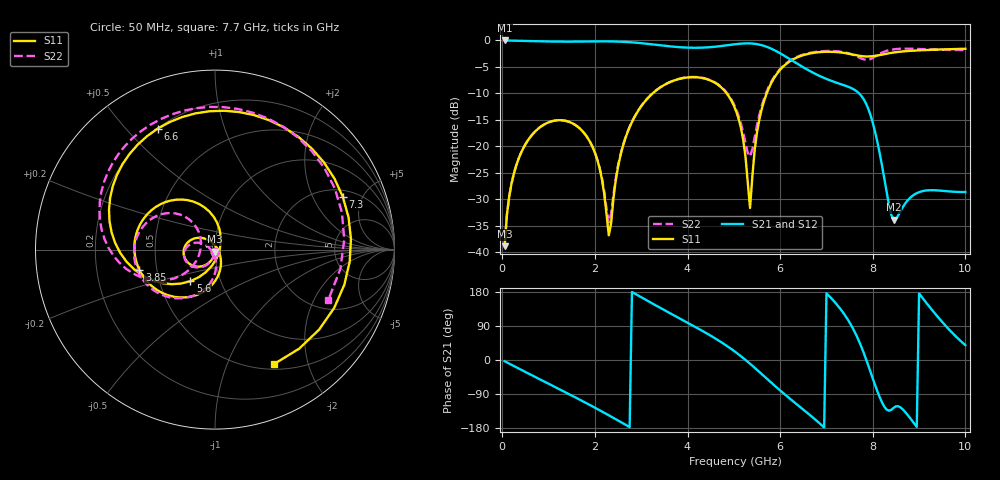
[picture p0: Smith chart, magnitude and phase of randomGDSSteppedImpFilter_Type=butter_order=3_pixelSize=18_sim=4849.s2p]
! freq	dB(S11)	phase(S11)	dB(S12)	phase(S12)
!  dB(S21)	phase(S21)	dB(S22)	phase(S22)
!S-par simulation data
#  GHz  S  DB  R 50
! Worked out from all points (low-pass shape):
!   200 points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, 50 MHz to 10 GHz, reference 50 ohm
!   highest |S21| = -0.01 dB at 50 MHz (marker M1); lowest = -33.9 dB at 8.45 GHz (marker M2)
!   |S21| within 3 dB of the highest: start of sweep to 6.111 GHz
!   lowest |S11| = -38.9 dB at 50 MHz (marker M3), VSWR 1.02, Z = 49.9 - j1.14 ohm
!   |S11| at or under -10 dB: start of sweep to 3.248 GHz; 4.846 GHz to 5.71 GHz (864.2 MHz wide, 16.4 % of centre)
!   |S22| runs from -38.9 to -1.6 dB; largest |S21 - S12| = 0
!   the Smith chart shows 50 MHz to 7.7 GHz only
!   S11 on the Smith chart (normalised r, x): 50 MHz: 1.00, -0.02; 3.85 GHz: 0.40, -0.11; 5.6 GHz: 0.72, -0.27; 6.6 GHz: 0.20, +0.61; 7.3 GHz: 2.41, +3.48; 7.7 GHz: 0.57, -1.49
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0.05  -38.88 -92.7  -0.01 -3.2  -0.01 -3.2  -38.88 -92.5
0.55  -18.92 -126.4  -0.10 -34.8  -0.10 -34.8  -18.92 -124.1
1.75  -17.32 154.1  -0.21 -109.6  -0.21 -109.6  -17.31 166.5
2.3  -36.82 44.5  -0.18 -145.9  -0.18 -145.9  -34.38 -153.7
2.65  -18.69 -75.8  -0.28 -170.0  -0.28 -170.0  -18.59 -88.4
3.4  -8.95 -133.5  -0.91 138.3  -0.91 138.3  -8.92 -131.4
3.85  -7.21 -164.9  -1.29 108.4  -1.29 108.4  -7.18 -158.7
5.05  -13.39 98.4  -0.69 19.7  -0.69 19.7  -13.01 130.6
5.35  -31.67 -22.3  -0.56 -9.8  -0.56 -9.8  -21.92 177.1
5.6  -13.05 -127.9  -0.89 -36.9  -0.89 -36.9  -12.44 -142.7
6.15  -4.31 164.9  -3.21 -95.9  -3.21 -95.9  -4.18 174.6
6.6  -2.55 115.3  -5.58 -140.8  -5.58 -140.8  -2.42 135.4
6.7  -2.37 104.0  -6.05 -151.0  -6.05 -151.0  -2.25 126.5
7.3  -2.27 22.4  -8.23 134.8  -8.23 134.8  -2.12 61.1
7.7  -2.88 -62.5  -9.96 50.4  -9.96 50.4  -3.22 -23.9
7.9  -3.04 -122.7  -12.85 -13.4  -12.85 -13.4  -3.64 -100.1
8.05  -2.92 -175.7  -17.28 -66.2  -17.28 -66.2  -3.05 -162.0
8.35  -2.43 80.2  -31.09 -133.8  -31.09 -133.8  -1.85 109.4
8.45  -2.28 50.6  -33.87 -126.2  -33.87 -126.2  -1.69 88.1
8.7  -2.04 -11.1  -30.81 -137.1  -30.81 -137.1  -1.55 42.8
9.1  -1.83 -82.1  -28.43 159.6  -28.43 159.6  -1.65 -19.0
10  -1.57 -178.1  -28.64 39.1  -28.64 39.1  -1.81 -125.5
